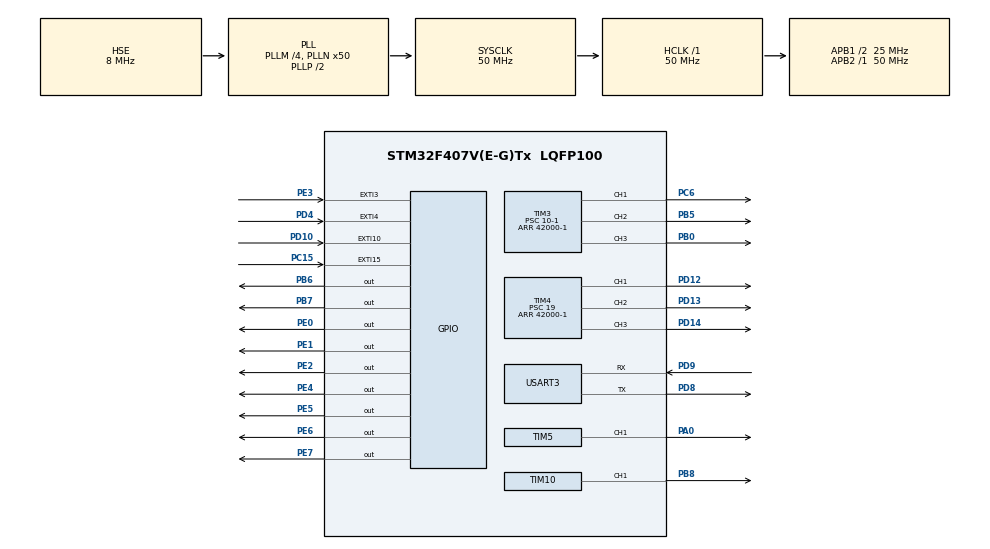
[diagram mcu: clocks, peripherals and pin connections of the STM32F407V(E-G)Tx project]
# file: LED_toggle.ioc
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Mcu.Family=STM32F4
Mcu.Name=STM32F407V(E-G)Tx
Mcu.Package=LQFP100
NVIC.EXTI15_10_IRQn=true\:0\:0\:false\:true\:true\:3\:true\:true\:true
NVIC.EXTI3_IRQn=true\:0\:0\:false\:true\:true\:5\:true\:true\:true
NVIC.EXTI4_IRQn=true\:0\:0\:false\:true\:true\:4\:true\:true\:true
NVIC.PriorityGroup=NVIC_PRIORITYGROUP_4
NVIC.TIM7_IRQn=true\:0\:0\:false\:true\:true\:2\:true\:true\:true
NVIC.USART3_IRQn=true\:0\:0\:false\:true\:true\:1\:true\:true\:true
PA0-WKUP.Signal=S_TIM5_CH1
PB0.Signal=S_TIM3_CH3
PB5.Signal=S_TIM3_CH2
PB6.Signal=GPIO_Output
PB7.Signal=GPIO_Output
PB8.Signal=S_TIM10_CH1
PC15-OSC32_OUT.Signal=GPXTI15
PC6.Signal=S_TIM3_CH1
PD10.Signal=GPXTI10
PD12.Signal=S_TIM4_CH1
PD13.Signal=S_TIM4_CH2
PD14.Signal=S_TIM4_CH3
PD4.Signal=GPXTI4
PD8.Mode=Asynchronous
PD8.Signal=USART3_TX
PD9.Mode=Asynchronous
PD9.Signal=USART3_RX
PE0.Signal=GPIO_Output
PE1.Signal=GPIO_Output
PE2.Signal=GPIO_Output
PE3.Signal=GPXTI3
PE4.Signal=GPIO_Output
PE5.Signal=GPIO_Output
PE6.Signal=GPIO_Output
PE7.Signal=GPIO_Output
PH0-OSC_IN.Mode=HSE-External-Oscillator
PH0-OSC_IN.Signal=RCC_OSC_IN
PH1-OSC_OUT.Mode=HSE-External-Oscillator
PH1-OSC_OUT.Signal=RCC_OSC_OUT
ProjectManager.HeapSize=0x200
ProjectManager.StackSize=0x400
ProjectManager.TargetToolchain=STM32CubeIDE
RCC.48MHZClocksFreq_Value=25000000
RCC.AHBFreq_Value=50000000
RCC.APB1CLKDivider=RCC_HCLK_DIV2
RCC.APB1Freq_Value=25000000
RCC.APB1TimFreq_Value=50000000
RCC.APB2Freq_Value=50000000
RCC.APB2TimFreq_Value=50000000
RCC.CortexFreq_Value=50000000
RCC.HCLKFreq_Value=50000000
RCC.HSE_VALUE=8000000
RCC.HSI_VALUE=16000000
RCC.PLLM=4
RCC.PLLN=50
RCC.PLLSourceVirtual=RCC_PLLSOURCE_HSE
RCC.SYSCLKFreq_VALUE=50000000
RCC.SYSCLKSource=RCC_SYSCLKSOURCE_PLLCLK
RCC.VCOOutputFreq_Value=100000000
SH.S_TIM10_CH1.0=TIM10_CH1,PWM Generation1 CH1
SH.S_TIM3_CH1.0=TIM3_CH1,PWM Generation1 CH1
SH.S_TIM3_CH2.0=TIM3_CH2,PWM Generation2 CH2
SH.S_TIM3_CH3.0=TIM3_CH3,PWM Generation3 CH3
SH.S_TIM4_CH1.0=TIM4_CH1,PWM Generation1 CH1
SH.S_TIM4_CH2.0=TIM4_CH2,PWM Generation2 CH2
SH.S_TIM4_CH3.0=TIM4_CH3,PWM Generation3 CH3
SH.S_TIM5_CH1.0=TIM5_CH1,PWM Generation1 CH1
TIM10.Channel=TIM_CHANNEL_1
TIM10.Period=10000-1
TIM10.Prescaler=336-1
TIM10.Pulse=100
TIM3.Channel-PWM\ Generation1\ CH1=TIM_CHANNEL_1
TIM3.Channel-PWM\ Generation2\ CH2=TIM_CHANNEL_2
TIM3.Channel-PWM\ Generation3\ CH3=TIM_CHANNEL_3
TIM3.Period=42000-1
TIM3.Prescaler=10-1
TIM3.Pulse-PWM\ Generation1\ CH1=21000-1
TIM3.Pulse-PWM\ Generation2\ CH2=10500-1
TIM3.Pulse-PWM\ Generation3\ CH3=5250-1
TIM4.Channel-PWM\ Generation1\ CH1=TIM_CHANNEL_1
TIM4.Channel-PWM\ Generation2\ CH2=TIM_CHANNEL_2
TIM4.Channel-PWM\ Generation3\ CH3=TIM_CHANNEL_3
TIM4.Period=42000-1
TIM4.Prescaler=19
TIM4.Pulse-PWM\ Generation1\ CH1=21000-1
TIM4.Pulse-PWM\ Generation2\ CH2=10500-1
TIM4.Pulse-PWM\ Generation3\ CH3=5250-1
TIM5.Channel-PWM\ Generation1\ CH1=TIM_CHANNEL_1
TIM5.Period=10000-1
TIM5.Prescaler=84-1
TIM5.Pulse-PWM\ Generation1\ CH1=5000-1
TIM7.Period=8399
TIM7.Prescaler=9999
USART3.VirtualMode=VM_ASYNC
VP_TIM10_VS_ClockSourceINT.Mode=Enable_Timer
VP_TIM3_VS_ClockSourceINT.Mode=Internal
VP_TIM4_VS_ClockSourceINT.Mode=Internal
VP_TIM5_VS_ClockSourceINT.Mode=Internal
VP_TIM7_VS_ClockSourceINT.Mode=Enable_Timer
board=custom

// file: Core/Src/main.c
/* USER CODE BEGIN Header */
/**
  ******************************************************************************
  * @file           : main.c
  * @brief          : Main program body
  ******************************************************************************
  * @attention
  *
  * Copyright (c) 2025 STMicroelectronics.
  * All rights reserved.
  *
  * This software is licensed under terms that can be found in the LICENSE file
  * in the root directory of this software component.
  * If no LICENSE file comes with this software, it is provided AS-IS.
  *
  ******************************************************************************
  */
/* USER CODE END Header */
#include "main.h"

/* USER CODE BEGIN Includes */
#include <stdio.h>
/* USER CODE END Includes */

TIM_HandleTypeDef htim3;
TIM_HandleTypeDef htim4;
TIM_HandleTypeDef htim5;
TIM_HandleTypeDef htim7;
TIM_HandleTypeDef htim10;

UART_HandleTypeDef huart3;

/* USER CODE BEGIN PV */
uint8_t rx3_data;
/* USER CODE END PV */

void SystemClock_Config(void);
static void MX_GPIO_Init(void);
static void MX_USART3_UART_Init(void);
static void MX_TIM7_Init(void);
static void MX_TIM3_Init(void);
static void MX_TIM4_Init(void);
static void MX_TIM10_Init(void);
static void MX_TIM5_Init(void);
static void MX_NVIC_Init(void);
/* USER CODE BEGIN PFP */
int _write(int file, char* p, int len)
{
	HAL_UART_Transmit(&huart3, (uint8_t*)p, len, 10);
	return len;
}
/* USER CODE END PFP */

int main(void)
{

  /* MCU Configuration--------------------------------------------------------*/

  /* Reset of all peripherals, Initializes the Flash interface and the Systick. */
  HAL_Init();

  /* Configure the system clock */
  SystemClock_Config();

  /* Initialize all configured peripherals */
  MX_GPIO_Init();
  MX_USART3_UART_Init();
  MX_TIM7_Init();
  MX_TIM3_Init();
  MX_TIM4_Init();
  MX_TIM10_Init();
  MX_TIM5_Init();

  /* Initialize interrupts */
  MX_NVIC_Init();
  /* USER CODE BEGIN 2 */
  HAL_GPIO_WritePin(GPIOD,GPIO_PIN_12,GPIO_PIN_SET);
  HAL_GPIO_WritePin(GPIOD,GPIO_PIN_13,GPIO_PIN_SET);
  HAL_GPIO_WritePin(GPIOD,GPIO_PIN_14,GPIO_PIN_SET);
  HAL_UART_Receive_IT(&huart3, &rx3_data,1);
  HAL_TIM_Base_Start_IT(&htim7);
  HAL_TIM_PWM_Start(&htim10, TIM_CHANNEL_1);
  HAL_TIM_PWM_Start(&htim5, TIM_CHANNEL_1);
  HAL_TIM_PWM_Start(&htim5, TIM_CHANNEL_4);
  HAL_TIM_PWM_Start(&htim5, TIM_CHANNEL_2);
  /* USER CODE END 2 */

  /* Infinite loop */
  /* USER CODE BEGIN WHILE */
  TIM10->CCR1=1500;
  TIM2->ARR=500; //?��?���??? ?��?��로써 PWM?��?��?�� 주기�??? 바꾼 것이?�� COUNTER PERIOD�??? 바꿈?��로써 주기�??? ?��반으�???
  TIM2->CCR1=250;

  // 방향 설정 함수 (모터 방향 제어)
  void Set_Motor_Direction(uint8_t direction)
  {
      if (direction == 0) // 방향 1 (예: 시계방향)
      {
          // IN1 = HIGH, IN2 = LOW
          HAL_GPIO_WritePin(GPIOB, GPIO_PIN_6, GPIO_PIN_SET); // IN1
          HAL_GPIO_WritePin(GPIOB, GPIO_PIN_7, GPIO_PIN_RESET); // IN2
      }
      else if (direction == 1) // 방향 2 (예: 반시계방향)
      {
          // IN1 = LOW, IN2 = HIGH
          HAL_GPIO_WritePin(GPIOB, GPIO_PIN_6, GPIO_PIN_RESET); // IN1
          HAL_GPIO_WritePin(GPIOB, GPIO_PIN_7, GPIO_PIN_SET); // IN2
      }
      else // 방향 0 (정지)
      {
          // IN1 = LOW, IN2 = LOW
          HAL_GPIO_WritePin(GPIOB, GPIO_PIN_6, GPIO_PIN_RESET); // IN1
          HAL_GPIO_WritePin(GPIOB, GPIO_PIN_7, GPIO_PIN_RESET); // IN2
      }
  }
  uint16_t ccr=0;
  while (1)
  {
//	  __HAL_TIM_SET_COMPARE(&htim4,TIM_CHANNEL_1,ccr);
	  Set_Motor_Direction(1);
//
//	printf("Hello %d\n",a++);
//	HAL_Delay(1000);
  }
//	GPIOE->ODR=0x3F00;
//	HAL_Delay(1000);
//	GPIOE->ODR=0x0600;
//	HAL_Delay(1000);
//	GPIOE->ODR=0x5800;
//	HAL_Delay(1000);
//	GPIOE->ODR=0x4F00;
//	HAL_Delay(1000);
//	GPIOE->ODR=0x6600;
//	HAL_Delay(1000);
//	GPIOE->ODR=0x6D00;
//	HAL_Delay(1000);
//	GPIOE->ODR=0x7D00;
//	HAL_Delay(1000);
//	GPIOE->ODR=0x0700;
//	HAL_Delay(1000);
//	GPIOE->ODR=0x7F00;
//	HAL_Delay(1000);
//	GPIOE->ODR=0x6F00;
//	HAL_Delay(1000);

    /* USER CODE END WHILE */

}

void SystemClock_Config(void)
{
  RCC_OscInitTypeDef RCC_OscInitStruct = {0};
  RCC_ClkInitTypeDef RCC_ClkInitStruct = {0};

  /** Configure the main internal regulator output voltage
  */
  __HAL_RCC_PWR_CLK_ENABLE();
  __HAL_PWR_VOLTAGESCALING_CONFIG(PWR_REGULATOR_VOLTAGE_SCALE1);

  /** Initializes the RCC Oscillators according to the specified parameters
  * in the RCC_OscInitTypeDef structure.
  */
  RCC_OscInitStruct.OscillatorType = RCC_OSCILLATORTYPE_HSE;
  RCC_OscInitStruct.HSEState = RCC_HSE_ON;
  RCC_OscInitStruct.PLL.PLLState = RCC_PLL_ON;
  RCC_OscInitStruct.PLL.PLLSource = RCC_PLLSOURCE_HSE;
  RCC_OscInitStruct.PLL.PLLM = 4;
  RCC_OscInitStruct.PLL.PLLN = 50;
  RCC_OscInitStruct.PLL.PLLP = RCC_PLLP_DIV2;
  RCC_OscInitStruct.PLL.PLLQ = 4;
  if (HAL_RCC_OscConfig(&RCC_OscInitStruct) != HAL_OK)
  {
    Error_Handler();
  }

  /** Initializes the CPU, AHB and APB buses clocks
  */
  RCC_ClkInitStruct.ClockType = RCC_CLOCKTYPE_HCLK|RCC_CLOCKTYPE_SYSCLK
                              |RCC_CLOCKTYPE_PCLK1|RCC_CLOCKTYPE_PCLK2;
  RCC_ClkInitStruct.SYSCLKSource = RCC_SYSCLKSOURCE_PLLCLK;
  RCC_ClkInitStruct.AHBCLKDivider = RCC_SYSCLK_DIV1;
  RCC_ClkInitStruct.APB1CLKDivider = RCC_HCLK_DIV2;
  RCC_ClkInitStruct.APB2CLKDivider = RCC_HCLK_DIV1;

  if (HAL_RCC_ClockConfig(&RCC_ClkInitStruct, FLASH_LATENCY_1) != HAL_OK)
  {
    Error_Handler();
  }
}

/**
  * @brief NVIC Configuration.
  * @retval None
  */
static void MX_NVIC_Init(void)
{
  /* USART3_IRQn interrupt configuration */
  HAL_NVIC_SetPriority(USART3_IRQn, 0, 0);
  HAL_NVIC_EnableIRQ(USART3_IRQn);
  /* TIM7_IRQn interrupt configuration */
  HAL_NVIC_SetPriority(TIM7_IRQn, 0, 0);
  HAL_NVIC_EnableIRQ(TIM7_IRQn);
  /* EXTI15_10_IRQn interrupt configuration */
  HAL_NVIC_SetPriority(EXTI15_10_IRQn, 0, 0);
  HAL_NVIC_EnableIRQ(EXTI15_10_IRQn);
  /* EXTI4_IRQn interrupt configuration */
  HAL_NVIC_SetPriority(EXTI4_IRQn, 0, 0);
  HAL_NVIC_EnableIRQ(EXTI4_IRQn);
  /* EXTI3_IRQn interrupt configuration */
  HAL_NVIC_SetPriority(EXTI3_IRQn, 0, 0);
  HAL_NVIC_EnableIRQ(EXTI3_IRQn);
}

static void MX_TIM3_Init(void)
{

  TIM_ClockConfigTypeDef sClockSourceConfig = {0};
  TIM_MasterConfigTypeDef sMasterConfig = {0};
  TIM_OC_InitTypeDef sConfigOC = {0};

  htim3.Instance = TIM3;
  htim3.Init.Prescaler = 10-1;
  htim3.Init.CounterMode = TIM_COUNTERMODE_UP;
  htim3.Init.Period = 42000-1;
  htim3.Init.ClockDivision = TIM_CLOCKDIVISION_DIV1;
  htim3.Init.AutoReloadPreload = TIM_AUTORELOAD_PRELOAD_DISABLE;
  if (HAL_TIM_Base_Init(&htim3) != HAL_OK)
  {
    Error_Handler();
  }
  sClockSourceConfig.ClockSource = TIM_CLOCKSOURCE_INTERNAL;
  if (HAL_TIM_ConfigClockSource(&htim3, &sClockSourceConfig) != HAL_OK)
  {
    Error_Handler();
  }
  if (HAL_TIM_PWM_Init(&htim3) != HAL_OK)
  {
    Error_Handler();
  }
  sMasterConfig.MasterOutputTrigger = TIM_TRGO_RESET;
  sMasterConfig.MasterSlaveMode = TIM_MASTERSLAVEMODE_DISABLE;
  if (HAL_TIMEx_MasterConfigSynchronization(&htim3, &sMasterConfig) != HAL_OK)
  {
    Error_Handler();
  }
  sConfigOC.OCMode = TIM_OCMODE_PWM1;
  sConfigOC.Pulse = 21000-1;
  sConfigOC.OCPolarity = TIM_OCPOLARITY_HIGH;
  sConfigOC.OCFastMode = TIM_OCFAST_DISABLE;
  if (HAL_TIM_PWM_ConfigChannel(&htim3, &sConfigOC, TIM_CHANNEL_1) != HAL_OK)
  {
    Error_Handler();
  }
  sConfigOC.Pulse = 10500-1;
  if (HAL_TIM_PWM_ConfigChannel(&htim3, &sConfigOC, TIM_CHANNEL_2) != HAL_OK)
  {
    Error_Handler();
  }
  sConfigOC.Pulse = 5250-1;
  if (HAL_TIM_PWM_ConfigChannel(&htim3, &sConfigOC, TIM_CHANNEL_3) != HAL_OK)
  {
    Error_Handler();
  }
  HAL_TIM_MspPostInit(&htim3);

}

static void MX_TIM4_Init(void)
{

  TIM_ClockConfigTypeDef sClockSourceConfig = {0};
  TIM_MasterConfigTypeDef sMasterConfig = {0};
  TIM_OC_InitTypeDef sConfigOC = {0};

  htim4.Instance = TIM4;
  htim4.Init.Prescaler = 19;
  htim4.Init.CounterMode = TIM_COUNTERMODE_UP;
  htim4.Init.Period = 42000-1;
  htim4.Init.ClockDivision = TIM_CLOCKDIVISION_DIV1;
  htim4.Init.AutoReloadPreload = TIM_AUTORELOAD_PRELOAD_DISABLE;
  if (HAL_TIM_Base_Init(&htim4) != HAL_OK)
  {
    Error_Handler();
  }
  sClockSourceConfig.ClockSource = TIM_CLOCKSOURCE_INTERNAL;
  if (HAL_TIM_ConfigClockSource(&htim4, &sClockSourceConfig) != HAL_OK)
  {
    Error_Handler();
  }
  if (HAL_TIM_PWM_Init(&htim4) != HAL_OK)
  {
    Error_Handler();
  }
  sMasterConfig.MasterOutputTrigger = TIM_TRGO_RESET;
  sMasterConfig.MasterSlaveMode = TIM_MASTERSLAVEMODE_DISABLE;
  if (HAL_TIMEx_MasterConfigSynchronization(&htim4, &sMasterConfig) != HAL_OK)
  {
    Error_Handler();
  }
  sConfigOC.OCMode = TIM_OCMODE_PWM1;
  sConfigOC.Pulse = 21000-1;
  sConfigOC.OCPolarity = TIM_OCPOLARITY_HIGH;
  sConfigOC.OCFastMode = TIM_OCFAST_DISABLE;
  if (HAL_TIM_PWM_ConfigChannel(&htim4, &sConfigOC, TIM_CHANNEL_1) != HAL_OK)
  {
    Error_Handler();
  }
  sConfigOC.Pulse = 10500-1;
  if (HAL_TIM_PWM_ConfigChannel(&htim4, &sConfigOC, TIM_CHANNEL_2) != HAL_OK)
  {
    Error_Handler();
  }
  sConfigOC.Pulse = 5250-1;
  if (HAL_TIM_PWM_ConfigChannel(&htim4, &sConfigOC, TIM_CHANNEL_3) != HAL_OK)
  {
    Error_Handler();
  }
  HAL_TIM_MspPostInit(&htim4);

}

static void MX_TIM5_Init(void)
{

  TIM_ClockConfigTypeDef sClockSourceConfig = {0};
  TIM_MasterConfigTypeDef sMasterConfig = {0};
  TIM_OC_InitTypeDef sConfigOC = {0};

  htim5.Instance = TIM5;
  htim5.Init.Prescaler = 84-1;
  htim5.Init.CounterMode = TIM_COUNTERMODE_UP;
  htim5.Init.Period = 10000-1;
  htim5.Init.ClockDivision = TIM_CLOCKDIVISION_DIV1;
  htim5.Init.AutoReloadPreload = TIM_AUTORELOAD_PRELOAD_DISABLE;
  if (HAL_TIM_Base_Init(&htim5) != HAL_OK)
  {
    Error_Handler();
  }
  sClockSourceConfig.ClockSource = TIM_CLOCKSOURCE_INTERNAL;
  if (HAL_TIM_ConfigClockSource(&htim5, &sClockSourceConfig) != HAL_OK)
  {
    Error_Handler();
  }
  if (HAL_TIM_PWM_Init(&htim5) != HAL_OK)
  {
    Error_Handler();
  }
  sMasterConfig.MasterOutputTrigger = TIM_TRGO_RESET;
  sMasterConfig.MasterSlaveMode = TIM_MASTERSLAVEMODE_DISABLE;
  if (HAL_TIMEx_MasterConfigSynchronization(&htim5, &sMasterConfig) != HAL_OK)
  {
    Error_Handler();
  }
  sConfigOC.OCMode = TIM_OCMODE_PWM1;
  sConfigOC.Pulse = 5000-1;
  sConfigOC.OCPolarity = TIM_OCPOLARITY_HIGH;
  sConfigOC.OCFastMode = TIM_OCFAST_DISABLE;
  if (HAL_TIM_PWM_ConfigChannel(&htim5, &sConfigOC, TIM_CHANNEL_1) != HAL_OK)
  {
    Error_Handler();
  }
  HAL_TIM_MspPostInit(&htim5);

}

static void MX_TIM7_Init(void)
{

  TIM_MasterConfigTypeDef sMasterConfig = {0};

  htim7.Instance = TIM7;
  htim7.Init.Prescaler = 9999;
  htim7.Init.CounterMode = TIM_COUNTERMODE_UP;
  htim7.Init.Period = 8399;
  htim7.Init.AutoReloadPreload = TIM_AUTORELOAD_PRELOAD_DISABLE;
  if (HAL_TIM_Base_Init(&htim7) != HAL_OK)
  {
    Error_Handler();
  }
  sMasterConfig.MasterOutputTrigger = TIM_TRGO_RESET;
  sMasterConfig.MasterSlaveMode = TIM_MASTERSLAVEMODE_DISABLE;
  if (HAL_TIMEx_MasterConfigSynchronization(&htim7, &sMasterConfig) != HAL_OK)
  {
    Error_Handler();
  }

}

static void MX_TIM10_Init(void)
{

  TIM_OC_InitTypeDef sConfigOC = {0};

  htim10.Instance = TIM10;
  htim10.Init.Prescaler = 336-1;
  htim10.Init.CounterMode = TIM_COUNTERMODE_UP;
  htim10.Init.Period = 10000-1;
  htim10.Init.ClockDivision = TIM_CLOCKDIVISION_DIV1;
  htim10.Init.AutoReloadPreload = TIM_AUTORELOAD_PRELOAD_DISABLE;
  if (HAL_TIM_Base_Init(&htim10) != HAL_OK)
  {
    Error_Handler();
  }
  if (HAL_TIM_PWM_Init(&htim10) != HAL_OK)
  {
    Error_Handler();
  }
  sConfigOC.OCMode = TIM_OCMODE_PWM1;
  sConfigOC.Pulse = 100;
  sConfigOC.OCPolarity = TIM_OCPOLARITY_HIGH;
  sConfigOC.OCFastMode = TIM_OCFAST_DISABLE;
  if (HAL_TIM_PWM_ConfigChannel(&htim10, &sConfigOC, TIM_CHANNEL_1) != HAL_OK)
  {
    Error_Handler();
  }
  HAL_TIM_MspPostInit(&htim10);

}

static void MX_USART3_UART_Init(void)
{

  huart3.Instance = USART3;
  huart3.Init.BaudRate = 115200;
  huart3.Init.WordLength = UART_WORDLENGTH_8B;
  huart3.Init.StopBits = UART_STOPBITS_1;
  huart3.Init.Parity = UART_PARITY_NONE;
  huart3.Init.Mode = UART_MODE_TX_RX;
  huart3.Init.HwFlowCtl = UART_HWCONTROL_NONE;
  huart3.Init.OverSampling = UART_OVERSAMPLING_16;
  if (HAL_UART_Init(&huart3) != HAL_OK)
  {
    Error_Handler();
  }

}

static void MX_GPIO_Init(void)
{
  GPIO_InitTypeDef GPIO_InitStruct = {0};

  /* GPIO Ports Clock Enable */
  __HAL_RCC_GPIOE_CLK_ENABLE();
  __HAL_RCC_GPIOC_CLK_ENABLE();
  __HAL_RCC_GPIOH_CLK_ENABLE();
  __HAL_RCC_GPIOA_CLK_ENABLE();
  __HAL_RCC_GPIOB_CLK_ENABLE();
  __HAL_RCC_GPIOD_CLK_ENABLE();

  /*Configure GPIO pin Output Level */
  HAL_GPIO_WritePin(GPIOE, GPIO_PIN_2|GPIO_PIN_4|GPIO_PIN_5|GPIO_PIN_6
                          |GPIO_PIN_7|GPIO_PIN_0|GPIO_PIN_1, GPIO_PIN_RESET);

  /*Configure GPIO pin Output Level */
  HAL_GPIO_WritePin(GPIOB, GPIO_PIN_6|GPIO_PIN_7, GPIO_PIN_RESET);

  /*Configure GPIO pins : PE2 PE4 PE5 PE6
                           PE7 PE0 PE1 */
  GPIO_InitStruct.Pin = GPIO_PIN_2|GPIO_PIN_4|GPIO_PIN_5|GPIO_PIN_6
                          |GPIO_PIN_7|GPIO_PIN_0|GPIO_PIN_1;
  GPIO_InitStruct.Mode = GPIO_MODE_OUTPUT_PP;
  GPIO_InitStruct.Pull = GPIO_NOPULL;
  GPIO_InitStruct.Speed = GPIO_SPEED_FREQ_LOW;
  HAL_GPIO_Init(GPIOE, &GPIO_InitStruct);

  /*Configure GPIO pin : PE3 */
  GPIO_InitStruct.Pin = GPIO_PIN_3;
  GPIO_InitStruct.Mode = GPIO_MODE_IT_RISING;
  GPIO_InitStruct.Pull = GPIO_NOPULL;
  HAL_GPIO_Init(GPIOE, &GPIO_InitStruct);

  /*Configure GPIO pin : PC15 */
  GPIO_InitStruct.Pin = GPIO_PIN_15;
  GPIO_InitStruct.Mode = GPIO_MODE_IT_RISING;
  GPIO_InitStruct.Pull = GPIO_NOPULL;
  HAL_GPIO_Init(GPIOC, &GPIO_InitStruct);

  /*Configure GPIO pins : PD10 PD4 */
  GPIO_InitStruct.Pin = GPIO_PIN_10|GPIO_PIN_4;
  GPIO_InitStruct.Mode = GPIO_MODE_IT_RISING;
  GPIO_InitStruct.Pull = GPIO_NOPULL;
  HAL_GPIO_Init(GPIOD, &GPIO_InitStruct);

  /*Configure GPIO pins : PB6 PB7 */
  GPIO_InitStruct.Pin = GPIO_PIN_6|GPIO_PIN_7;
  GPIO_InitStruct.Mode = GPIO_MODE_OUTPUT_PP;
  GPIO_InitStruct.Pull = GPIO_NOPULL;
  GPIO_InitStruct.Speed = GPIO_SPEED_FREQ_LOW;
  HAL_GPIO_Init(GPIOB, &GPIO_InitStruct);

}

/* USER CODE BEGIN 4 */
void HAL_UART_RxCpltCallback(UART_HandleTypeDef *huart)
{
  /* Prevent unused argument(s) compilation warning */
	if(huart->Instance ==USART3)
	{
		HAL_UART_Receive_IT(&huart3, &rx3_data,1);
		HAL_UART_Transmit(&huart3, &rx3_data,1,10);
	}
  /* NOTE: This function should not be modified, when the callback is needed,
           the HAL_UART_RxCpltCallback could be implemented in the user file
   */
}

void HAL_TIM_PeriodElapseCallback(TIM_HandleTypeDef *htim)
{
	if(htim->Instance==TIM7)
	{
		HAL_GPIO_TogglePin(GPIOD,GPIO_PIN_12);
	}
}

void HAL_GPIO_EXTI_Callback(uint16_t GPIO_Pin)
{
  if(GPIO_Pin==GPIO_PIN_3)
  {
	  HAL_GPIO_TogglePin(GPIOD,GPIO_PIN_13);
  }

  if(GPIO_Pin==GPIO_PIN_10)
   {
	  HAL_GPIO_TogglePin(GPIOD,GPIO_PIN_14);
   }

}
/* USER CODE END 4 */

void Error_Handler(void)
{
  __disable_irq();
  while (1)
  {
  }
}
